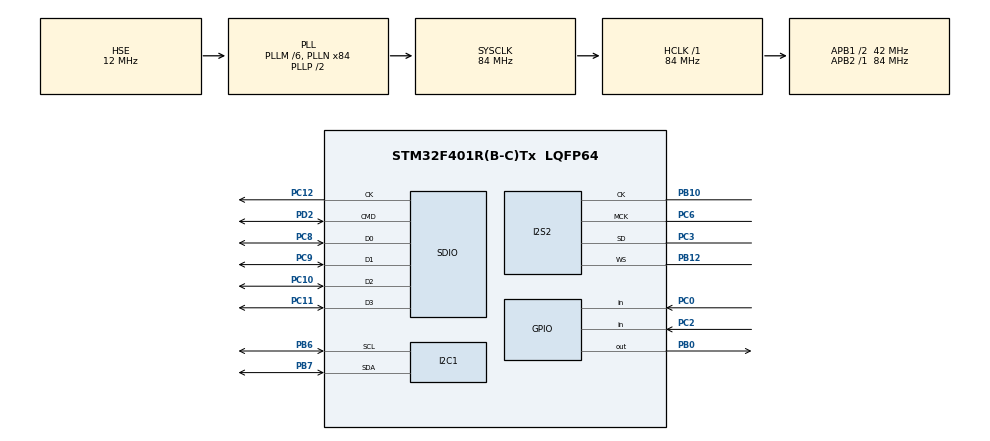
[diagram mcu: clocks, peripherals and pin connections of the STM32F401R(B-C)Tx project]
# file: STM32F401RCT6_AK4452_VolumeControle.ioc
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Dma.Request0=SPI2_TX
Dma.SPI2_TX.0.Direction=DMA_MEMORY_TO_PERIPH
Dma.SPI2_TX.0.FIFOMode=DMA_FIFOMODE_DISABLE
Dma.SPI2_TX.0.Instance=DMA1_Stream4
Dma.SPI2_TX.0.MemDataAlignment=DMA_MDATAALIGN_HALFWORD
Dma.SPI2_TX.0.MemInc=DMA_MINC_ENABLE
Dma.SPI2_TX.0.Mode=DMA_NORMAL
Dma.SPI2_TX.0.PeriphDataAlignment=DMA_PDATAALIGN_HALFWORD
Dma.SPI2_TX.0.PeriphInc=DMA_PINC_DISABLE
Dma.SPI2_TX.0.Priority=DMA_PRIORITY_LOW
FATFS._MAX_SS=4096
I2S2.AudioFreq=I2S_AUDIOFREQ_44K
I2S2.CPOL=I2S_CPOL_LOW
I2S2.DataFormat=I2S_DATAFORMAT_16B
I2S2.ErrorAudioFreq=0.26 %
I2S2.FullDuplexMode=I2S_FULLDUPLEXMODE_DISABLE
I2S2.Instance=SPI$Index
I2S2.RealAudioFreq=44.117 KHz
I2S2.Standard=I2S_STANDARD_LSB
I2S2.VirtualMode=I2S_MODE_MASTER
Mcu.Family=STM32F4
Mcu.Name=STM32F401R(B-C)Tx
Mcu.Package=LQFP64
NVIC.DMA1_Stream4_IRQn=true\:0\:0\:false\:false\:true\:false\:true
NVIC.PriorityGroup=NVIC_PRIORITYGROUP_4
NVIC.SPI2_IRQn=true\:0\:0\:false\:false\:true\:true\:true
NVIC.TIM1_BRK_TIM9_IRQn=true\:15\:0\:false\:false\:true\:false\:true
NVIC.TimeBase=TIM1_BRK_TIM9_IRQn
NVIC.TimeBaseIP=TIM9
PA13.Mode=Serial_Wire
PA13.Signal=SYS_JTMS-SWDIO
PA14.Mode=Serial_Wire
PA14.Signal=SYS_JTCK-SWCLK
PB0.Signal=GPIO_Output
PB10.Mode=Half_Duplex_Master
PB10.Signal=I2S2_CK
PB12.Mode=Half_Duplex_Master
PB12.Signal=I2S2_WS
PB6.GPIO_Pu=GPIO_PULLUP
PB6.Mode=I2C
PB6.Signal=I2C1_SCL
PB7.GPIO_Pu=GPIO_PULLUP
PB7.Mode=I2C
PB7.Signal=I2C1_SDA
PC0.GPIO_PuPd=GPIO_PULLUP
PC0.Signal=GPIO_Input
PC10.GPIO_PuPd=GPIO_PULLUP
PC10.Mode=SD_4_bits_Wide_bus
PC10.Signal=SDIO_D2
PC11.GPIO_PuPd=GPIO_PULLUP
PC11.Mode=SD_4_bits_Wide_bus
PC11.Signal=SDIO_D3
PC12.Mode=SD_4_bits_Wide_bus
PC12.Signal=SDIO_CK
PC2.GPIO_PuPd=GPIO_PULLUP
PC2.Signal=GPIO_Input
PC3.Mode=Half_Duplex_Master
PC3.Signal=I2S2_SD
PC6.Mode=Master_Clock_Activated
PC6.Signal=I2S2_MCK
PC8.GPIO_PuPd=GPIO_PULLUP
PC8.Mode=SD_4_bits_Wide_bus
PC8.Signal=SDIO_D0
PC9.GPIO_PuPd=GPIO_PULLUP
PC9.Mode=SD_4_bits_Wide_bus
PC9.Signal=SDIO_D1
PD2.GPIO_PuPd=GPIO_PULLUP
PD2.Mode=SD_4_bits_Wide_bus
PD2.Signal=SDIO_CMD
PH0\ -\ OSC_IN.Mode=HSE-External-Oscillator
PH0\ -\ OSC_IN.Signal=RCC_OSC_IN
PH1\ -\ OSC_OUT.Mode=HSE-External-Oscillator
PH1\ -\ OSC_OUT.Signal=RCC_OSC_OUT
ProjectManager.HeapSize=0x800
ProjectManager.StackSize=0x1000
ProjectManager.TargetToolchain=STM32CubeIDE
RCC.48MHZClocksFreq_Value=42000000
RCC.AHBFreq_Value=84000000
RCC.APB1CLKDivider=RCC_HCLK_DIV2
RCC.APB1Freq_Value=42000000
RCC.APB1TimFreq_Value=84000000
RCC.APB2Freq_Value=84000000
RCC.APB2TimFreq_Value=84000000
RCC.CortexFreq_Value=84000000
RCC.HCLKFreq_Value=84000000
RCC.HSE_VALUE=12000000
RCC.HSI_VALUE=16000000
RCC.LSE_VALUE=32768
RCC.PLLM=6
RCC.PLLN=84
RCC.PLLSourceVirtual=RCC_PLLSOURCE_HSE
RCC.SYSCLKFreq_VALUE=84000000
RCC.SYSCLKSource=RCC_SYSCLKSOURCE_PLLCLK
RCC.VCOOutputFreq_Value=168000000
SDIO.ClockDiv=8
VP_FATFS_VS_SDIO.Mode=SDIO
VP_SYS_VS_tim9.Mode=TIM9
board=custom

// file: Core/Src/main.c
/* USER CODE BEGIN Header */
/**
  ******************************************************************************
  * @file           : main.c
  * @brief          : Main program body
  ******************************************************************************
  * @attention
  *
  * Copyright (c) 2021 STMicroelectronics.
  * All rights reserved.
  *
  * This software is licensed under terms that can be found in the LICENSE file
  * in the root directory of this software component.
  * If no LICENSE file comes with this software, it is provided AS-IS.
  *
  ******************************************************************************
  */
/* USER CODE END Header */
#include "main.h"
#include "fatfs.h"

/* USER CODE BEGIN Includes */

#include <stdio.h>
#include <stdbool.h>
#include "audioplay.h"

/* USER CODE END Includes */

I2C_HandleTypeDef hi2c1;

I2S_HandleTypeDef hi2s2;
DMA_HandleTypeDef hdma_spi2_tx;

SD_HandleTypeDef hsd;

void SystemClock_Config(void);
static void MX_GPIO_Init(void);
static void MX_SDIO_SD_Init(void);
static void MX_DMA_Init(void);
static void MX_I2S2_Init(void);
static void MX_I2C1_Init(void);

/* USER CODE BEGIN 0 */
FATFS SDFatFs;  /* File system object for SD card logical drive */
FIL wavFile;     /* File object */
extern char SDPath[4];  /* SD logical drive path */
uint32_t byteswritten, bytesread;                     /* File write/read counts */
const char* fname = "44100_2.wav";
//const char* fname = "3.wav";

//---------------------------------------------------------------------

void HAL_I2S_TxHalfCpltCallback(I2S_HandleTypeDef *hi2s2)
{
        if(hi2s2->Instance==I2S2)
        {
                AudioPlay_HalfTransfer_Callback();
        }
}

void HAL_I2S_TxCpltCallback(I2S_HandleTypeDef *hi2s2)
{
        if(hi2s2->Instance==I2S2)
        {
                AudioPlay_Transfer_Callback();
        }
}

//---------------------------------------------------------------------
WAVE_FormatTypeDef *waveformat =  NULL;
uint32_t WaveDataLength = 0;
char str[100];
char FileName[64]={0};
uint8_t info[44];
FIL WavFile;
extern ApplicationTypeDef Appli_state;

//-----------------------------------------------------
void GetFileInfo(void)
{
        if(f_open(&WavFile,FileName, FA_OPEN_EXISTING | FA_READ)==FR_OK)
        {
                uint32_t duration;
                uint32_t bytesread;
                if(f_read(&WavFile, info, 44, (void*)&bytesread)==FR_OK)
                {
                        waveformat=(WAVE_FormatTypeDef*)info;
                        sprintf((char*)str, "%d", (int)(waveformat->SampleRate));
//                        LCD_SetPos(0,2);
//                        LCD_String(str);
                        sprintf((char*)str, " %d", (int)(waveformat->NbrChannels));
//                        LCD_String(str);
                        duration = waveformat->FileSize / waveformat->ByteRate;
                        sprintf((char*)str, " %d %02d:%02d", (int)(waveformat->FileSize/1024),
                                (int)duration/60, (int)duration%60);
//                        LCD_String(str);
                }
                f_close(&WavFile);
        }
}

//-----------------------------------------------------

//extern void myMain();
/* USER CODE END 0 */

int main(void)
{

  /* MCU Configuration--------------------------------------------------------*/

  /* Reset of all peripherals, Initializes the Flash interface and the Systick. */
  HAL_Init();

  /* Configure the system clock */
  SystemClock_Config();

  /* Initialize all configured peripherals */
  MX_GPIO_Init();
  MX_SDIO_SD_Init();
  MX_FATFS_Init();
  MX_DMA_Init();
  MX_I2S2_Init();
  MX_I2C1_Init();
  /* USER CODE BEGIN 2 */
  HAL_GPIO_WritePin(GPIOB, GPIO_PIN_0, GPIO_PIN_SET);
  HAL_Delay(100);
  HAL_GPIO_WritePin(GPIOB, GPIO_PIN_0, GPIO_PIN_RESET);
  HAL_Delay(100);
  HAL_GPIO_WritePin(GPIOB, GPIO_PIN_0, GPIO_PIN_SET);
  HAL_Delay(100);

  uint8_t control_test = 0;
  uint8_t control00 = 0x81;	// 16bit LSB
//  uint8_t control00 = 0x8F;	    // 32 I2S compatible
  write_register(0x20, 0x0, control00);
  HAL_Delay(50);

  read_register(0x20, 0x0, &control_test);
  HAL_Delay(50);

  FRESULT res = f_mount(&SDFatFs, (TCHAR const*)SDPath, 1);

    if (res == FR_OK){

    	res = f_open(&wavFile, fname, FA_READ);
        if (res == FR_OK){
        	sprintf(FileName, fname);
        	GetFileInfo();
            WaveDataLength=waveformat->FileSize;
            if(f_open(&WavFile,FileName, FA_OPEN_EXISTING | FA_READ)==FR_OK)
            {
            		Appli_state=APPLICATION_START;
                    AudioPlay_Start(waveformat->SampleRate);
                    f_close(&WavFile);
            }

        }
  }

  /* USER CODE END 2 */

  /* Infinite loop */
  while (1)
  {

  }
}

void SystemClock_Config(void)
{
  RCC_OscInitTypeDef RCC_OscInitStruct = {0};
  RCC_ClkInitTypeDef RCC_ClkInitStruct = {0};

  /** Configure the main internal regulator output voltage
  */
  __HAL_RCC_PWR_CLK_ENABLE();
  __HAL_PWR_VOLTAGESCALING_CONFIG(PWR_REGULATOR_VOLTAGE_SCALE2);
  /** Initializes the RCC Oscillators according to the specified parameters
  * in the RCC_OscInitTypeDef structure.
  */
  RCC_OscInitStruct.OscillatorType = RCC_OSCILLATORTYPE_HSE;
  RCC_OscInitStruct.HSEState = RCC_HSE_ON;
  RCC_OscInitStruct.PLL.PLLState = RCC_PLL_ON;
  RCC_OscInitStruct.PLL.PLLSource = RCC_PLLSOURCE_HSE;
  RCC_OscInitStruct.PLL.PLLM = 6;
  RCC_OscInitStruct.PLL.PLLN = 84;
  RCC_OscInitStruct.PLL.PLLP = RCC_PLLP_DIV2;
  RCC_OscInitStruct.PLL.PLLQ = 4;
  if (HAL_RCC_OscConfig(&RCC_OscInitStruct) != HAL_OK)
  {
    Error_Handler();
  }
  /** Initializes the CPU, AHB and APB buses clocks
  */
  RCC_ClkInitStruct.ClockType = RCC_CLOCKTYPE_HCLK|RCC_CLOCKTYPE_SYSCLK
                              |RCC_CLOCKTYPE_PCLK1|RCC_CLOCKTYPE_PCLK2;
  RCC_ClkInitStruct.SYSCLKSource = RCC_SYSCLKSOURCE_PLLCLK;
  RCC_ClkInitStruct.AHBCLKDivider = RCC_SYSCLK_DIV1;
  RCC_ClkInitStruct.APB1CLKDivider = RCC_HCLK_DIV2;
  RCC_ClkInitStruct.APB2CLKDivider = RCC_HCLK_DIV1;

  if (HAL_RCC_ClockConfig(&RCC_ClkInitStruct, FLASH_LATENCY_2) != HAL_OK)
  {
    Error_Handler();
  }
}

static void MX_I2C1_Init(void)
{

  hi2c1.Instance = I2C1;
  hi2c1.Init.ClockSpeed = 100000;
  hi2c1.Init.DutyCycle = I2C_DUTYCYCLE_2;
  hi2c1.Init.OwnAddress1 = 0;
  hi2c1.Init.AddressingMode = I2C_ADDRESSINGMODE_7BIT;
  hi2c1.Init.DualAddressMode = I2C_DUALADDRESS_DISABLE;
  hi2c1.Init.OwnAddress2 = 0;
  hi2c1.Init.GeneralCallMode = I2C_GENERALCALL_DISABLE;
  hi2c1.Init.NoStretchMode = I2C_NOSTRETCH_DISABLE;
  if (HAL_I2C_Init(&hi2c1) != HAL_OK)
  {
    Error_Handler();
  }

}

static void MX_I2S2_Init(void)
{

  hi2s2.Instance = SPI2;
  hi2s2.Init.Mode = I2S_MODE_MASTER_TX;
  hi2s2.Init.Standard = I2S_STANDARD_LSB;
  hi2s2.Init.DataFormat = I2S_DATAFORMAT_16B;
  hi2s2.Init.MCLKOutput = I2S_MCLKOUTPUT_ENABLE;
  hi2s2.Init.AudioFreq = I2S_AUDIOFREQ_44K;
  hi2s2.Init.CPOL = I2S_CPOL_LOW;
  hi2s2.Init.ClockSource = I2S_CLOCK_PLL;
  hi2s2.Init.FullDuplexMode = I2S_FULLDUPLEXMODE_DISABLE;
  if (HAL_I2S_Init(&hi2s2) != HAL_OK)
  {
    Error_Handler();
  }

}

static void MX_SDIO_SD_Init(void)
{

  hsd.Instance = SDIO;
  hsd.Init.ClockEdge = SDIO_CLOCK_EDGE_RISING;
  hsd.Init.ClockBypass = SDIO_CLOCK_BYPASS_DISABLE;
  hsd.Init.ClockPowerSave = SDIO_CLOCK_POWER_SAVE_DISABLE;
  hsd.Init.BusWide = SDIO_BUS_WIDE_1B;
  hsd.Init.HardwareFlowControl = SDIO_HARDWARE_FLOW_CONTROL_DISABLE;
  hsd.Init.ClockDiv = 8;

}

static void MX_DMA_Init(void)
{

  /* DMA controller clock enable */
  __HAL_RCC_DMA1_CLK_ENABLE();

  /* DMA interrupt init */
  /* DMA1_Stream4_IRQn interrupt configuration */
  HAL_NVIC_SetPriority(DMA1_Stream4_IRQn, 0, 0);
  HAL_NVIC_EnableIRQ(DMA1_Stream4_IRQn);

}

static void MX_GPIO_Init(void)
{
  GPIO_InitTypeDef GPIO_InitStruct = {0};

  /* GPIO Ports Clock Enable */
  __HAL_RCC_GPIOH_CLK_ENABLE();
  __HAL_RCC_GPIOC_CLK_ENABLE();
  __HAL_RCC_GPIOB_CLK_ENABLE();
  __HAL_RCC_GPIOA_CLK_ENABLE();
  __HAL_RCC_GPIOD_CLK_ENABLE();

  /*Configure GPIO pin Output Level */
  HAL_GPIO_WritePin(GPIOB, GPIO_PIN_0, GPIO_PIN_RESET);

  /*Configure GPIO pins : PC0 PC2 */
  GPIO_InitStruct.Pin = GPIO_PIN_0|GPIO_PIN_2;
  GPIO_InitStruct.Mode = GPIO_MODE_INPUT;
  GPIO_InitStruct.Pull = GPIO_PULLUP;
  HAL_GPIO_Init(GPIOC, &GPIO_InitStruct);

  /*Configure GPIO pin : PB0 */
  GPIO_InitStruct.Pin = GPIO_PIN_0;
  GPIO_InitStruct.Mode = GPIO_MODE_OUTPUT_PP;
  GPIO_InitStruct.Pull = GPIO_NOPULL;
  GPIO_InitStruct.Speed = GPIO_SPEED_FREQ_LOW;
  HAL_GPIO_Init(GPIOB, &GPIO_InitStruct);

}

void HAL_TIM_PeriodElapsedCallback(TIM_HandleTypeDef *htim)
{
  if (htim->Instance == TIM9) {
    HAL_IncTick();
  }
}

void Error_Handler(void)
{
  __disable_irq();
  while (1)
  {
  }
}
